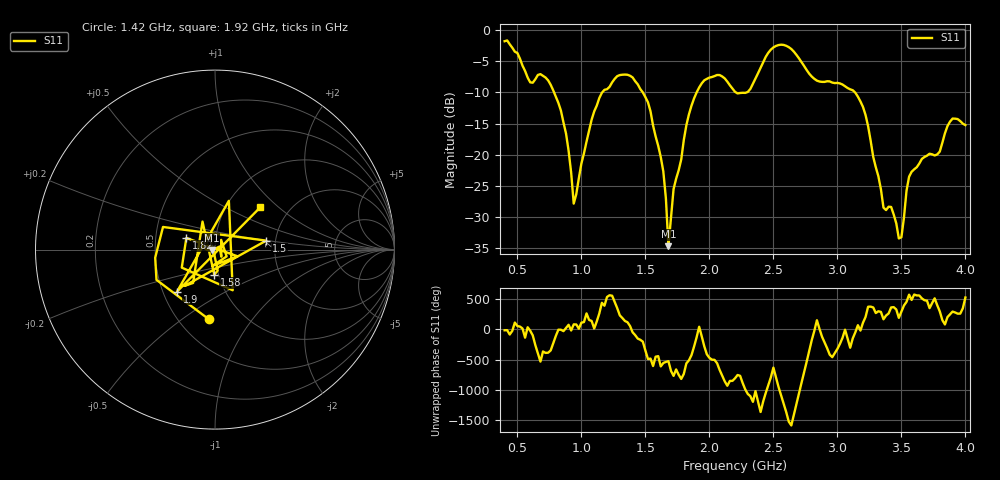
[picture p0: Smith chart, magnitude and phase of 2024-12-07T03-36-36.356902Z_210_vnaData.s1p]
!Created with skrf (http://scikit-rf.org).
# Hz S RI R 50.0
!freq ReS11 ImS11
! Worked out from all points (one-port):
!   181 points, 400 MHz to 4 GHz, reference 50 ohm
!   lowest |S11| = -34.7 dB at 1.68 GHz (marker M1), VSWR 1.04, Z = 48.2 - j0.444 ohm
!   |S11| at or under -10 dB: 786.2 MHz to 1.163 GHz (376.4 MHz wide, 38.6 % of centre); 1.48 GHz to 1.9 GHz (420.8 MHz wide, 24.9 % of centre); 3.138 GHz to end of sweep (the widest 3 of 4)
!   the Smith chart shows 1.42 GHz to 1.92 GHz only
!   S11 on the Smith chart (normalised r, x): 1.42 GHz: 0.69, -0.63; 1.5 GHz: 1.78, +0.19; 1.58 GHz: 0.95, -0.27; 1.82 GHz: 0.72, +0.10; 1.9 GHz: 0.59, -0.31; 1.92 GHz: 1.43, +0.77
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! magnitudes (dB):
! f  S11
! 400 MHz  -1.8
! 600 MHz  -8.4
! 740 MHz  -8.1
! 860 MHz  -14.8
! 940 MHz  -27.9
! 1.1 GHz  -13.0
! 1.3 GHz  -7.2
! 1.42 GHz  -8.2
! 1.5 GHz  -10.8
! 1.58 GHz  -17.1
! 1.64 GHz  -22.7
! 1.68 GHz  -34.7
! 1.72 GHz  -25.5
! 1.76 GHz  -22.5
! 1.82 GHz  -15.3
! 1.9 GHz  -10.0
! 1.92 GHz  -9.2
! 2.2 GHz  -9.9
! 2.5 GHz  -2.8
! 2.66 GHz  -3.5
! 3.1 GHz  -9.5
! 3.2 GHz  -12.3
! 3.36 GHz  -28.5
! 3.42 GHz  -28.4
! 3.48 GHz  -33.4
! 3.56 GHz  -23.5
! 3.9 GHz  -14.2
! 4 GHz  -15.3
